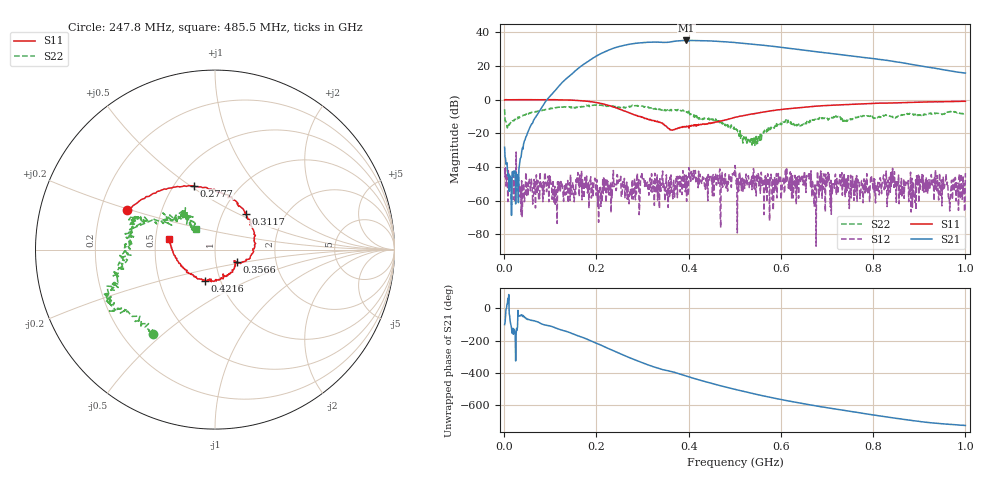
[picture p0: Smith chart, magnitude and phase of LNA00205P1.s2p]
! Created with skrf 1.9.0 (http://scikit-rf.org).
# Hz S RI R 50.0
!freq ReS11 ImS11 ReS21 ImS21 ReS12 ImS12 ReS22 ImS22
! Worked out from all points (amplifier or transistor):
!   1001 points, 1 MHz to 1 GHz, reference 50 ohm
!   highest |S21| = 35.1 dB at 394.6 MHz (marker M1)
!   |S21| within 3 dB of that: 258.7 MHz to 565.9 MHz (307.3 MHz wide, 74.5 % of centre)
!   unconditionally stable (mu >= 1): start of sweep to 87.81 MHz; 237.2 MHz to 319.7 MHz; 400.8 MHz to end of sweep (the widest 3 of 24)
!   at 166.8 MHz: K = 2.42, MAG = 29.4 dB, |S12| = -52.3 dB
!   at 500.5 MHz: K = 1.06, MAG = 35.1 dB, |S12| = -39.1 dB
!   at 1 GHz: K = 1.94, MAG = 24.1 dB, |S12| = -43.6 dB
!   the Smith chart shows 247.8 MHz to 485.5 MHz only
!   S11 on the Smith chart (normalised r, x): 247.8 MHz: 0.31, +0.19; 277.7 MHz: 0.62, +0.52; 311.7 MHz: 1.28, +0.55; 356.6 MHz: 1.26, -0.18; 421.6 MHz: 0.85, -0.31; 485.5 MHz: 0.59, +0.08
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1000000  0.9737 0.00863  -0.00683 -0.0379  0.00669 0.00627  0.3736 0.3593
1.08892e8  0.507 -0.8495  -0.823 -1.558  -0.00195 -0.000274  0.4227 -0.3703
1.67833e8  -0.2532 -0.8917  -10.06 -0.5082  -0.000851 0.0077  0.036 -0.6244
2.11789e8  -0.6872 -0.3266  -15.27 18.45  0.00088 -0.000164  -0.2007 -0.642
2.47753e8  -0.4919 0.2198  4.197 36.95  -0.00367 0.00118  -0.3428 -0.4724
2.77723e8  -0.1183 0.3549  30.68 33.6  0.00331 0.00261  -0.5874 -0.3421
3.11689e8  0.1701 0.1994  49.13 9.236  -0.00215 -0.000619  -0.5718 -0.1923
3.34666e8  0.2179 0.0039  49.56 -10.7  0.00175 0.0032  -0.5057 -0.0616
3.56644e8  0.1201 -0.0696  44.83 -23.36  -0.00378 0.00109  -0.4443 0.0695
3.72628e8  0.1152 -0.076  42.36 -34.62  -0.000196 0.00542  -0.4777 0.1396
3.94606e8  0.0698 -0.1452  28.68 -49.21  0.00202 0.00529  -0.3977 0.1735
4.21579e8  -0.0543 -0.1765  7.093 -55.6  0.00191 0.00727  -0.2119 0.1564
4.49551e8  -0.1682 -0.1071  -14.28 -52.76  0.00318 0.00133  -0.1551 0.2059
4.85515e8  -0.2542 0.061  -33.81 -38.36  0.00379 -8.97e-05  -0.1044 0.1125
5.005e8  -0.2674 0.1355  -39.22 -30.25  0.00194 0.0109  -0.0705 0.1036
5.36464e8  -0.1919 0.3216  -43.16 -10.17  0.00336 0.00382  -0.0643 0.00827
5.84416e8  0.00982 0.4756  -36.5 10.58  0.00045 -0.00136  -0.1354 -0.0604
6.25375e8  0.2009 0.5181  -25 20.39  -0.00179 -0.00526  -0.1423 -0.1221
6.67333e8  0.4007 0.4791  -13.28 23.82  -0.00124 0.000461  -0.2426 -0.0172
7.53247e8  0.6707 0.2704  3.494 19.36  0.000393 -0.00351  -0.2612 0.0381
8.34166e8  0.7919 0.00767  10.26 10.01  0.000318 -0.00223  -0.3336 0.0146
1e9  0.7189 -0.5284  6.095 -0.6954  -0.00612 0.00248  -0.294 0.2451
